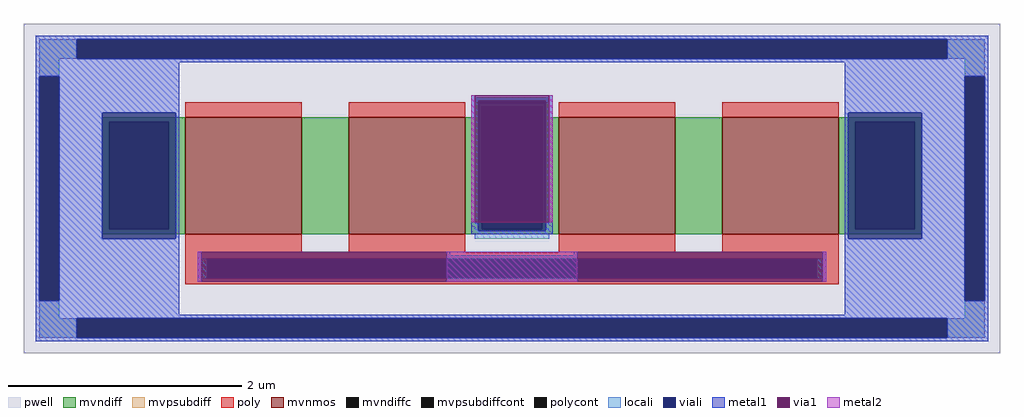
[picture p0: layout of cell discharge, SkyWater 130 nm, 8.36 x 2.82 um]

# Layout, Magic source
magic
tech sky130A
<< pwell >>
rect 0 0 836 282
<< mvnmos >>
rect 138 102 238 202
rect 278 102 378 202
rect 458 102 558 202
rect 598 102 698 202
<< mvndiff >>
rect 386 211 450 215
rect 386 202 392 211
rect 67 198 138 202
rect 67 106 73 198
rect 124 106 138 198
rect 67 102 138 106
rect 238 102 278 202
rect 378 106 392 202
rect 444 202 450 211
rect 444 106 458 202
rect 378 102 458 106
rect 558 102 598 202
rect 698 198 769 202
rect 698 106 712 198
rect 763 106 769 198
rect 698 102 769 106
<< mvndiffc >>
rect 73 106 124 198
rect 392 106 444 211
rect 712 106 763 198
<< mvpsubdiff >>
rect 13 252 45 269
rect 791 252 823 269
rect 13 237 30 252
rect 806 237 823 252
rect 13 30 30 45
rect 806 30 823 45
rect 13 13 45 30
rect 791 13 823 30
<< mvpsubdiffcont >>
rect 45 252 791 269
rect 13 45 30 237
rect 806 45 823 237
rect 45 13 791 30
<< poly >>
rect 138 202 238 215
rect 278 202 378 215
rect 458 202 558 215
rect 598 202 698 215
rect 138 86 238 102
rect 278 86 378 102
rect 458 86 558 102
rect 598 86 698 102
rect 138 81 698 86
rect 138 64 157 81
rect 679 64 698 81
rect 138 59 698 64
<< polycont >>
rect 157 64 679 81
<< locali >>
rect 13 252 45 269
rect 791 252 823 269
rect 13 237 30 252
rect 806 237 823 252
rect 386 216 450 219
rect 386 105 389 216
rect 447 105 450 216
rect 386 98 450 105
rect 149 64 157 81
rect 679 64 687 81
rect 13 30 30 45
rect 806 30 823 45
rect 13 13 45 30
rect 791 13 823 30
<< viali >>
rect 45 252 791 269
rect 13 45 30 237
rect 67 198 130 206
rect 67 106 73 198
rect 73 106 124 198
rect 124 106 130 198
rect 67 98 130 106
rect 389 211 447 216
rect 389 106 392 211
rect 392 106 444 211
rect 444 106 447 211
rect 389 105 447 106
rect 706 198 769 206
rect 706 106 712 198
rect 712 106 763 198
rect 763 106 769 198
rect 706 98 769 106
rect 157 64 679 81
rect 806 45 823 237
rect 45 13 791 30
<< metal1 >>
rect 10 269 826 272
rect 10 252 45 269
rect 791 252 826 269
rect 10 249 826 252
rect 10 237 133 249
rect 10 45 13 237
rect 30 206 133 237
rect 703 237 826 249
rect 30 98 67 206
rect 130 98 133 206
rect 383 112 386 221
rect 450 112 453 221
rect 383 105 389 112
rect 447 105 453 112
rect 383 102 453 105
rect 703 206 806 237
rect 30 45 133 98
rect 703 98 706 206
rect 769 98 806 206
rect 149 61 152 87
rect 362 84 365 87
rect 471 84 474 87
rect 362 81 474 84
rect 362 61 474 64
rect 684 61 687 87
rect 10 33 133 45
rect 703 45 806 98
rect 823 45 826 237
rect 703 33 826 45
rect 10 30 826 33
rect 10 13 45 30
rect 791 13 826 30
rect 10 10 826 13
<< via1 >>
rect 386 216 450 221
rect 386 112 389 216
rect 389 112 447 216
rect 447 112 450 216
rect 152 81 362 87
rect 474 81 684 87
rect 152 64 157 81
rect 157 64 362 81
rect 474 64 679 81
rect 679 64 684 81
rect 152 61 362 64
rect 474 61 684 64
<< metal2 >>
rect 383 112 386 221
rect 450 112 453 221
rect 149 61 152 87
rect 362 61 474 87
rect 684 61 687 87
<< end >>
